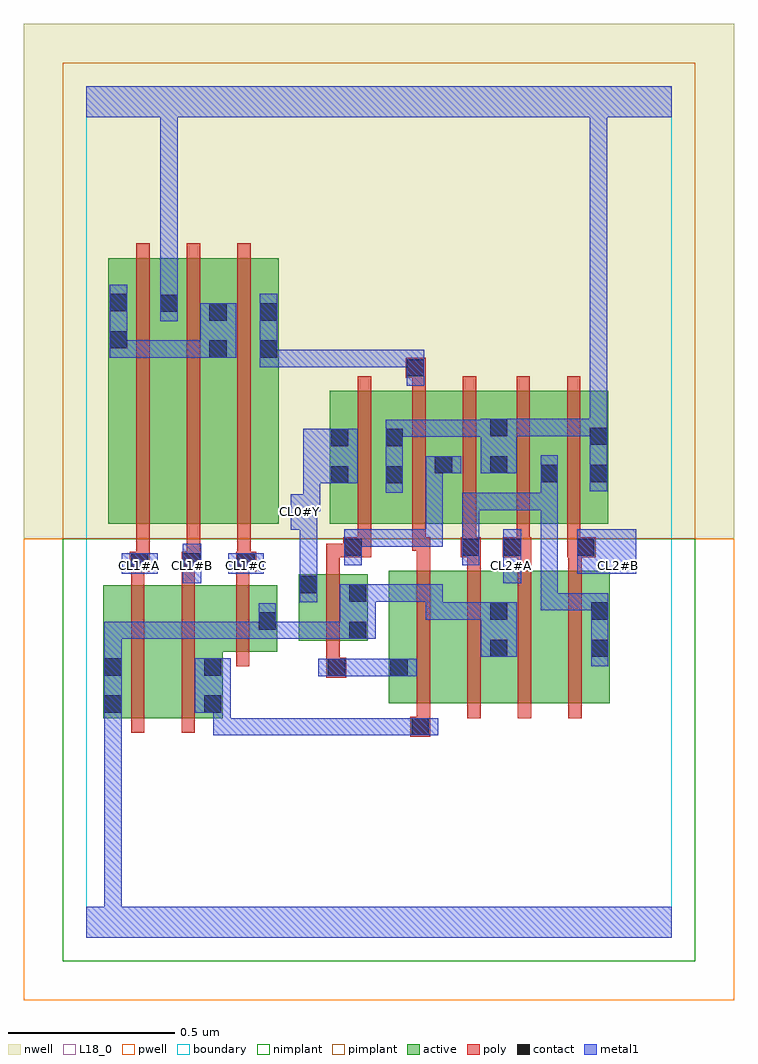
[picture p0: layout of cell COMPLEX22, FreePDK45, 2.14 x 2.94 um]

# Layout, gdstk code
import gdstk
lib = gdstk.Library(unit=1e-6, precision=1e-09)
def R(c, l, rs):  # rectangles x0, y0, x1, y1
    for r in rs: c.add(gdstk.rectangle(r[:2], r[2:], *l))
def A(c, l, x, y, w, h, nx, ny, dx, dy):  # array of equal rectangles
    R(c, l, [(x+i*dx, y+j*dy, x+i*dx+w, y+j*dy+h) for i in range(nx) for j in range(ny)])
active = (1, 0)
pwell = (2, 0)
nwell = (3, 0)
nimplant = (4, 0)
pimplant = (5, 0)
poly = (9, 0)
contact = (10, 0)
metal1 = (11, 0)
L18_0 = (18, 0)
boundary = (235, 0)

complex22 = lib.new_cell('COMPLEX22')
R(complex22, active, [(0.05,0.66,0.11,1.06), (0.05,0.66,0.23,1.06), (0.23,0.66,0.41,1.06), (0.35,0.66,0.41,0.912), (0.91,0.704,0.97,1.104), (0.91,0.704,1.09,1.104), (1.09,0.704,1.27,1.104), (1.21,0.704,1.27,1.104), (1.21,0.704,1.394,1.104), (1.394,0.704,1.574,1.104), (1.514,0.704,1.574,1.104), (0.35,0.86,0.574,1.06), (0.514,0.86,0.574,1.06), (0.638,0.892,0.846,1.092), (0.786,0.894,0.846,1.092), (0.638,0.956,0.698,1.092), (0.066,1.244,0.126,2.044), (0.066,1.244,0.278,2.044), (0.218,1.244,0.426,2.044), (0.366,1.244,0.578,2.044), (0.518,1.244,0.578,2.044), (0.732,1.244,0.792,1.644), (0.732,1.244,0.956,1.644), (0.896,1.244,0.956,1.644), (0.896,1.244,1.104,1.644), (1.044,1.244,1.104,1.644), (1.044,1.244,1.27,1.644), (1.21,1.244,1.27,1.644), (1.21,1.244,1.422,1.644), (1.362,1.244,1.422,1.644), (1.362,1.244,1.57,1.644), (1.51,1.244,1.57,1.644), (0.218,1.686,0.278,2.044), (0.366,1.686,0.426,2.044)])
R(complex22, pwell, [(-0.188,-0.188,1.948,1.2)])
R(complex22, nwell, [(-0.188,1.2,1.948,2.748)])
R(complex22, nimplant, [(-0.072,-0.072,1.832,1.2)])
R(complex22, pimplant, [(-0.072,1.2,1.832,2.632)])
A(complex22, poly, 0.994, 0.66, 0.04, 0.488, 4, 1, 0.152, 0)
A(complex22, poly, 1.146, 1.108, 0.04, 0.076, 3, 1, 0.152, 0)
A(complex22, poly, 0.15, 1.12, 0.04, 0.12, 3, 1, 0.152, 0)
A(complex22, poly, 0.15, 1.2, 0.04, 0.888, 3, 1, 0.152, 0)
R(complex22, poly, [(0.974,0.604,1.034,0.664), (0.134,0.616,0.174,1.104), (0.286,0.616,0.326,1.104), (0.994,0.624,1.034,0.7), (0.722,0.782,0.782,0.842), (0.722,0.802,0.762,0.888), (0.45,0.816,0.49,1.104), (0.722,0.848,0.762,1.136), (0.134,1.064,0.174,1.14), (0.286,1.064,0.326,1.14), (0.45,1.064,0.49,1.14), (0.722,1.096,0.762,1.184), (0.13,1.1,0.19,1.16), (0.286,1.1,0.346,1.16), (0.45,1.1,0.49,1.14), (0.45,1.1,0.49,1.14), (0.45,1.1,0.51,1.16), (0.994,1.108,1.034,1.204), (0.15,1.12,0.19,1.16), (0.15,1.12,0.19,1.16), (0.302,1.12,0.342,1.16), (0.302,1.12,0.342,1.16), (0.722,1.144,0.812,1.184), (0.772,1.144,0.812,1.184), (0.772,1.144,0.856,1.204), (1.126,1.144,1.186,1.204), (1.146,1.144,1.186,1.184), (1.146,1.144,1.186,1.184), (1.252,1.144,1.338,1.204), (1.446,1.144,1.532,1.204), (1.45,1.144,1.49,1.184), (1.45,1.144,1.49,1.184), (0.816,1.164,0.856,1.24), (0.98,1.164,1.02,1.24), (0.98,1.164,1.034,1.204), (0.994,1.164,1.034,1.204), (0.994,1.164,1.034,1.204), (1.132,1.164,1.172,1.24), (1.294,1.164,1.334,1.24), (1.294,1.164,1.334,1.204), (1.294,1.164,1.334,1.204), (1.446,1.164,1.486,1.24), (0.816,1.2,0.856,1.688), (0.98,1.2,1.02,1.688), (1.132,1.2,1.172,1.688), (1.294,1.2,1.334,1.688), (1.446,1.2,1.486,1.688), (0.98,1.648,1.02,1.724), (0.96,1.684,1.02,1.744)])
R(complex22, contact, [(0.978,0.608,1.03,0.66), (0.054,0.676,0.106,0.728), (0.354,0.676,0.406,0.728), (0.726,0.786,0.778,0.838), (0.914,0.786,0.966,0.838), (0.054,0.788,0.106,0.84), (0.354,0.788,0.406,0.84), (1.214,0.844,1.266,0.896), (1.518,0.844,1.57,0.896), (0.79,0.898,0.842,0.95), (0.518,0.926,0.57,0.978), (1.214,0.956,1.266,1.008), (1.518,0.956,1.57,1.008), (0.79,1.01,0.842,1.062), (0.642,1.036,0.694,1.088), (0.134,1.104,0.186,1.156), (0.29,1.104,0.342,1.156), (0.454,1.104,0.506,1.156), (0.776,1.148,0.828,1.2), (1.13,1.148,1.182,1.2), (1.256,1.148,1.308,1.2), (1.476,1.148,1.528,1.2), (0.736,1.366,0.788,1.418), (0.9,1.366,0.952,1.418), (1.366,1.37,1.418,1.422), (1.514,1.37,1.566,1.422), (1.048,1.396,1.1,1.448), (1.214,1.396,1.266,1.448), (0.736,1.478,0.788,1.53), (0.9,1.478,0.952,1.53), (1.514,1.482,1.566,1.534), (1.214,1.508,1.266,1.56), (0.964,1.688,1.016,1.74), (0.37,1.744,0.422,1.796), (0.522,1.744,0.574,1.796), (0.07,1.772,0.122,1.824), (0.37,1.856,0.422,1.908), (0.522,1.856,0.574,1.908), (0.222,1.882,0.274,1.934), (0.07,1.884,0.122,1.936)])
R(complex22, metal1, [(0,0,1.76,0.092), (0.054,0.04,0.106,0.092), (0.054,0.04,0.106,0.092), (0.054,0.04,0.106,0.092), (0.054,0.04,0.106,0.092), (0.054,0.04,0.106,0.092), (0.054,0.04,0.106,0.092), (0.054,0.04,0.106,0.092), (0.054,0.04,0.106,0.092), (0.054,0.04,0.106,0.092), (0.054,0.04,0.106,0.092), (0.054,0.04,0.106,0.7), (0.382,0.608,0.434,0.66), (0.382,0.608,0.434,0.66), (0.382,0.608,0.434,0.66), (0.382,0.608,0.594,0.66), (0.382,0.608,0.434,0.728), (0.542,0.608,0.594,0.66), (0.542,0.608,0.594,0.66), (0.542,0.608,0.594,0.66), (0.542,0.608,0.828,0.66), (0.776,0.608,0.828,0.66), (0.776,0.608,0.828,0.66), (0.776,0.608,0.828,0.66), (0.776,0.608,0.952,0.66), (0.9,0.608,0.952,0.66), (0.9,0.608,1.002,0.66), (0.95,0.608,1.058,0.66), (0.054,0.648,0.106,0.7), (0.054,0.648,0.106,0.7), (0.054,0.648,0.106,0.7), (0.054,0.648,0.106,0.7), (0.054,0.648,0.106,0.7), (0.054,0.648,0.106,0.7), (0.054,0.648,0.106,0.868), (0.326,0.676,0.434,0.84), (0.698,0.786,0.806,0.838), (0.754,0.786,0.87,0.838), (0.818,0.786,0.87,0.838), (0.818,0.786,0.938,0.838), (0.886,0.786,0.994,0.838), (0.054,0.816,0.106,0.95), (1.518,0.816,1.57,1.036), (1.186,0.844,1.294,1.008), (0.054,0.898,0.106,0.95), (0.054,0.898,0.106,0.95), (0.054,0.898,0.106,0.95), (0.054,0.898,0.232,0.95), (0.18,0.898,0.232,0.95), (0.18,0.898,0.232,0.95), (0.18,0.898,0.232,0.95), (0.18,0.898,0.46,0.95), (0.408,0.898,0.46,0.95), (0.408,0.898,0.46,0.95), (0.408,0.898,0.46,0.95), (0.408,0.898,0.57,0.95), (0.518,0.898,0.57,0.95), (0.518,0.898,0.57,0.95), (0.518,0.898,0.57,0.95), (0.518,0.898,0.57,0.95), (0.518,0.898,0.57,1.006), (0.518,0.898,0.814,0.95), (0.762,0.898,0.814,0.95), (0.762,0.898,0.814,0.95), (0.762,0.898,0.87,1.062), (1.02,0.956,1.172,1.008), (1.02,0.956,1.072,1.062), (1.12,0.956,1.172,1.008), (1.12,0.956,1.238,1.008), (1.366,0.984,1.418,1.036), (1.366,0.984,1.57,1.036), (1.366,0.984,1.418,1.338), (1.518,0.984,1.57,1.036), (1.518,0.984,1.57,1.036), (1.518,0.984,1.57,1.036), (1.518,0.984,1.57,1.036), (0.642,1.008,0.694,1.116), (0.818,1.01,0.87,1.062), (0.818,1.01,0.87,1.062), (0.818,1.01,0.952,1.062), (0.9,1.01,0.952,1.062), (0.9,1.01,0.98,1.062), (0.928,1.01,0.98,1.062), (0.928,1.01,1.072,1.062), (0.642,1.064,0.694,1.278), (0.29,1.066,0.346,1.184), (1.254,1.066,1.308,1.228), (0.106,1.094,0.214,1.156), (0.426,1.094,0.534,1.156), (1.476,1.094,1.654,1.228), (0.776,1.12,0.828,1.228), (1.13,1.12,1.182,1.228), (0.776,1.176,0.828,1.228), (0.776,1.176,0.828,1.228), (0.776,1.176,0.952,1.228), (0.9,1.176,0.952,1.228), (0.9,1.176,0.98,1.228), (0.928,1.176,0.98,1.228), (0.928,1.176,1.072,1.228), (1.02,1.176,1.072,1.228), (1.02,1.176,1.072,1.448), (1.13,1.176,1.182,1.228), (1.13,1.176,1.182,1.338), (0.614,1.226,0.694,1.334), (0.642,1.282,0.694,1.334), (0.642,1.282,0.704,1.334), (0.652,1.282,0.704,1.418), (1.13,1.286,1.418,1.338), (1.366,1.286,1.418,1.338), (1.366,1.286,1.418,1.338), (1.366,1.286,1.418,1.338), (1.366,1.286,1.418,1.394), (0.9,1.338,0.952,1.558), (1.366,1.342,1.418,1.45), (1.514,1.342,1.566,1.562), (0.652,1.366,0.816,1.53), (1.02,1.396,1.128,1.448), (1.186,1.396,1.294,1.56), (0.9,1.506,1.062,1.558), (1.01,1.506,1.062,1.558), (1.01,1.506,1.062,1.558), (1.01,1.506,1.062,1.558), (1.01,1.506,1.196,1.558), (1.144,1.506,1.196,1.558), (1.144,1.506,1.238,1.558), (1.242,1.508,1.418,1.56), (1.366,1.508,1.418,1.56), (1.366,1.508,1.418,1.56), (1.366,1.508,1.418,1.56), (1.366,1.508,1.566,1.56), (1.514,1.508,1.566,1.56), (1.514,1.508,1.566,1.56), (1.514,1.51,1.566,1.562), (1.514,1.51,1.566,1.562), (1.514,1.51,1.566,1.562), (1.514,1.51,1.566,1.562), (1.514,1.51,1.566,1.562), (1.514,1.51,1.566,1.562), (1.514,1.51,1.566,1.562), (1.514,1.51,1.566,1.562), (1.514,1.51,1.566,1.562), (1.514,1.51,1.566,1.562), (1.514,1.51,1.566,1.562), (1.514,1.51,1.566,1.562), (1.514,1.51,1.566,1.562), (1.514,1.51,1.566,1.562), (1.514,1.51,1.566,1.562), (1.514,1.51,1.566,1.562), (1.514,1.51,1.566,2.52), (0.964,1.66,1.016,1.768), (0.522,1.716,0.574,1.936), (0.522,1.716,0.704,1.768), (0.652,1.716,0.704,1.768), (0.652,1.716,0.704,1.768), (0.652,1.716,0.704,1.768), (0.652,1.716,0.814,1.768), (0.762,1.716,0.814,1.768), (0.762,1.716,0.952,1.768), (0.9,1.716,0.952,1.768), (0.9,1.716,1.016,1.768), (0.07,1.744,0.122,1.796), (0.07,1.744,0.122,1.796), (0.07,1.744,0.122,1.964), (0.07,1.744,0.268,1.796), (0.216,1.744,0.268,1.796), (0.216,1.744,0.268,1.796), (0.216,1.744,0.268,1.796), (0.216,1.744,0.394,1.796), (0.342,1.744,0.45,1.908), (0.222,1.854,0.274,1.962), (0.222,1.91,0.274,1.962), (0.222,1.91,0.274,1.962), (0.222,1.91,0.274,1.962), (0.222,1.91,0.274,1.962), (0.222,1.91,0.274,2.52), (0,2.468,1.76,2.56), (0.222,2.468,0.274,2.52), (0.222,2.468,0.274,2.52), (0.222,2.468,0.274,2.52), (0.222,2.468,0.274,2.52)])
A(complex22, L18_0, 0.134, 1.094, 0.052, 0.052, 3, 1, 0.16, 0)
R(complex22, L18_0, [(0,0,1.76,0.092), (0.054,0.04,0.106,0.092), (0.054,0.04,0.106,0.092), (0.054,0.04,0.106,0.092), (0.054,0.04,0.106,0.092), (0.054,0.04,0.106,0.092), (0.054,0.04,0.106,0.092), (0.054,0.04,0.106,0.092), (0.054,0.04,0.106,0.092), (0.054,0.04,0.106,0.092), (0.054,0.04,0.106,0.092), (0.054,0.04,0.106,0.7), (0.054,0.648,0.106,0.7), (0.054,0.648,0.106,0.7), (0.054,0.648,0.106,0.7), (0.054,0.648,0.106,0.7), (0.054,0.648,0.106,0.7), (0.054,0.648,0.106,0.7), (0.054,0.648,0.106,0.868), (0.054,0.816,0.106,0.95), (1.186,0.844,1.294,1.008), (0.054,0.898,0.106,0.95), (0.054,0.898,0.106,0.95), (0.054,0.898,0.106,0.95), (0.054,0.898,0.232,0.95), (0.18,0.898,0.232,0.95), (0.18,0.898,0.232,0.95), (0.18,0.898,0.232,0.95), (0.18,0.898,0.46,0.95), (0.408,0.898,0.46,0.95), (0.408,0.898,0.46,0.95), (0.408,0.898,0.46,0.95), (0.408,0.898,0.57,0.95), (0.518,0.898,0.57,0.95), (0.518,0.898,0.57,0.95), (0.518,0.898,0.57,0.95), (0.518,0.898,0.57,0.95), (0.518,0.898,0.57,1.006), (0.518,0.898,0.814,0.95), (0.762,0.898,0.814,0.95), (0.762,0.898,0.814,0.95), (0.762,0.898,0.87,1.062), (1.02,0.956,1.072,1.062), (1.02,0.956,1.172,1.008), (1.12,0.956,1.172,1.008), (1.12,0.956,1.238,1.008), (0.642,1.008,0.694,1.116), (0.818,1.01,0.87,1.062), (0.818,1.01,0.87,1.062), (0.818,1.01,0.952,1.062), (0.9,1.01,0.952,1.062), (0.9,1.01,0.98,1.062), (0.928,1.01,0.98,1.062), (0.928,1.01,1.072,1.062), (0.642,1.064,0.694,1.278), (0.29,1.066,0.346,1.184), (1.254,1.066,1.308,1.228), (0.106,1.094,0.214,1.156), (0.426,1.094,0.534,1.156), (1.254,1.094,1.306,1.146), (1.476,1.094,1.654,1.228), (1.574,1.094,1.626,1.146), (0.614,1.226,0.694,1.334), (0.614,1.254,0.666,1.306), (0.642,1.282,0.694,1.334), (0.642,1.282,0.704,1.334), (0.652,1.282,0.704,1.418), (0.9,1.338,0.952,1.558), (1.514,1.342,1.566,1.562), (0.652,1.366,0.816,1.53), (1.186,1.396,1.294,1.56), (0.9,1.506,1.062,1.558), (1.01,1.506,1.062,1.558), (1.01,1.506,1.062,1.558), (1.01,1.506,1.062,1.558), (1.01,1.506,1.196,1.558), (1.144,1.506,1.196,1.558), (1.144,1.506,1.238,1.558), (1.242,1.508,1.418,1.56), (1.366,1.508,1.418,1.56), (1.366,1.508,1.418,1.56), (1.366,1.508,1.418,1.56), (1.366,1.508,1.566,1.56), (1.514,1.508,1.566,1.56), (1.514,1.508,1.566,1.56), (1.514,1.51,1.566,1.562), (1.514,1.51,1.566,1.562), (1.514,1.51,1.566,1.562), (1.514,1.51,1.566,1.562), (1.514,1.51,1.566,1.562), (1.514,1.51,1.566,1.562), (1.514,1.51,1.566,1.562), (1.514,1.51,1.566,1.562), (1.514,1.51,1.566,1.562), (1.514,1.51,1.566,1.562), (1.514,1.51,1.566,1.562), (1.514,1.51,1.566,1.562), (1.514,1.51,1.566,1.562), (1.514,1.51,1.566,1.562), (1.514,1.51,1.566,1.562), (1.514,1.51,1.566,1.562), (1.514,1.51,1.566,2.52), (0.222,1.854,0.274,1.962), (0.222,1.91,0.274,1.962), (0.222,1.91,0.274,1.962), (0.222,1.91,0.274,1.962), (0.222,1.91,0.274,1.962), (0.222,1.91,0.274,2.52), (0,2.468,1.76,2.56), (0.222,2.468,0.274,2.52), (0.222,2.468,0.274,2.52), (0.222,2.468,0.274,2.52), (0.222,2.468,0.274,2.52)])
R(complex22, boundary, [(0,0,1.76,2.56)])
complex22.add(gdstk.Label('CL0#Y', (0.64,1.28), layer=11, texttype=0))
complex22.add(gdstk.Label('CL1#A', (0.16,1.12), layer=11, texttype=0))
complex22.add(gdstk.Label('CL1#B', (0.32,1.12), layer=11, texttype=0))
complex22.add(gdstk.Label('CL1#C', (0.48,1.12), layer=11, texttype=0))
complex22.add(gdstk.Label('CL2#A', (1.28,1.12), layer=11, texttype=0))
complex22.add(gdstk.Label('CL2#B', (1.6,1.12), layer=11, texttype=0))

lib.write_gds('COMPLEX22.gds')
